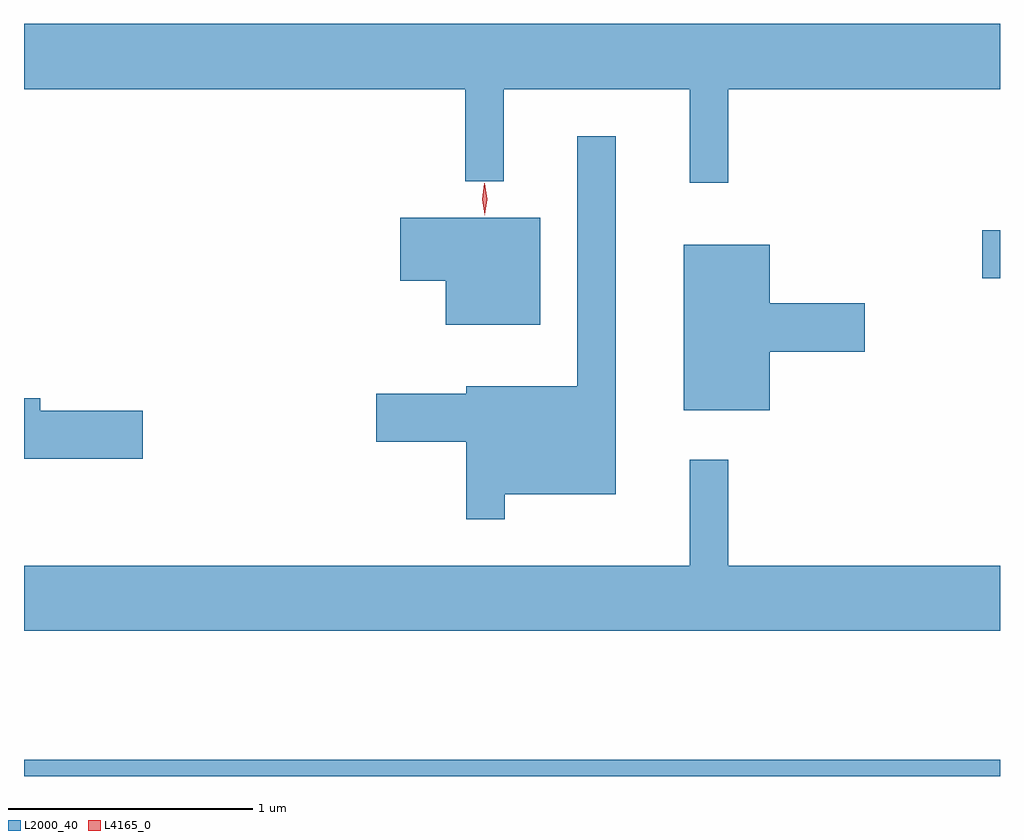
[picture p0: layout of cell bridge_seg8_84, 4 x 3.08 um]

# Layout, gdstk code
import gdstk
lib = gdstk.Library(unit=1e-6, precision=1e-09)
def R(c, l, rs):  # rectangles x0, y0, x1, y1
    for r in rs: c.add(gdstk.rectangle(r[:2], r[2:], *l))
def P(c, l, *ps):  # polygons
    for p in ps: c.add(gdstk.Polygon(p, *l))
L2000_40 = (2000, 40)
L4165_0 = (4165, 0)

bridge_seg8_84 = lib.new_cell('bridge_seg8_84')
R(bridge_seg8_84, L2000_40, [(1615.118,1811.401,1619.118,1811.469), (1619.046,1813.441,1619.118,1813.639)])
P(bridge_seg8_84, L2000_40, [(1618.004,1814.216),(1619.118,1814.216),(1619.118,1814.484),(1615.118,1814.484),(1615.118,1814.216),(1616.926,1814.216),(1616.926,1813.838),(1617.084,1813.838),(1617.084,1814.216),(1617.846,1814.216),(1617.846,1813.833),(1618.004,1813.833)],
  [(1617.089,1812.556),(1617.544,1812.556),(1617.544,1814.023),(1617.386,1814.023),(1617.386,1812.999),(1616.931,1812.999),(1616.931,1812.969),(1616.561,1812.969),(1616.561,1812.771),(1616.931,1812.771),(1616.931,1812.453),(1617.089,1812.453)],
  [(1617.234,1813.689),(1616.661,1813.689),(1616.661,1813.431),(1616.846,1813.431),(1616.846,1813.251),(1617.234,1813.251)],
  [(1618.174,1813.141),(1618.564,1813.141),(1618.564,1813.339),(1618.174,1813.339),(1618.174,1813.579),(1617.821,1813.579),(1617.821,1812.901),(1618.174,1812.901)],
  [(1615.604,1812.899),(1615.184,1812.899),(1615.184,1812.949),(1615.118,1812.949),(1615.118,1812.701),(1615.604,1812.701)],
  [(1619.118,1812.264),(1618.004,1812.264),(1618.004,1812.698),(1617.846,1812.698),(1617.846,1812.264),(1615.118,1812.264),(1615.118,1811.996),(1619.118,1811.996)])
P(bridge_seg8_84, L4165_0, [(1617.007,1813.7),(1617.006,1813.701),(1616.996,1813.766),(1617.005,1813.831),(1617.005,1813.831),(1617.006,1813.831),(1617.016,1813.766),(1617.007,1813.701)])

lib.write_gds('bridge_seg8_84.gds')
